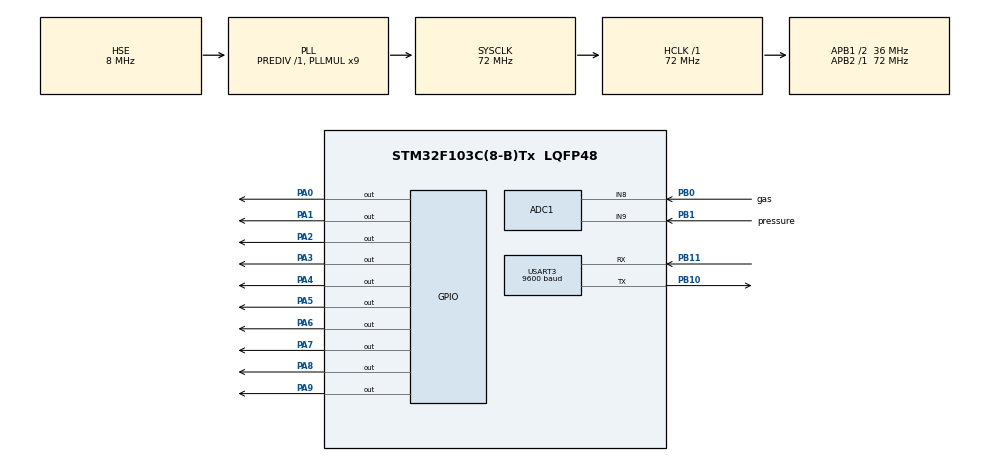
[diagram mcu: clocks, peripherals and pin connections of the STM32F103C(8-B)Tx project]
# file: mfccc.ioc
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ADC1.Channel-0\#ChannelRegularConversion=ADC_CHANNEL_8
ADC1.Channel-1\#ChannelRegularConversion=ADC_CHANNEL_9
ADC1.ContinuousConvMode=ENABLE
ADC1.NbrOfConversion=2
ADC1.NbrOfConversionFlag=1
ADC1.Rank-0\#ChannelRegularConversion=1
ADC1.Rank-1\#ChannelRegularConversion=2
ADC1.SamplingTime-0\#ChannelRegularConversion=ADC_SAMPLETIME_71CYCLES_5
ADC1.SamplingTime-1\#ChannelRegularConversion=ADC_SAMPLETIME_71CYCLES_5
ADC1.master=1
Dma.ADC1.0.Direction=DMA_PERIPH_TO_MEMORY
Dma.ADC1.0.Instance=DMA1_Channel1
Dma.ADC1.0.MemDataAlignment=DMA_MDATAALIGN_WORD
Dma.ADC1.0.MemInc=DMA_MINC_ENABLE
Dma.ADC1.0.Mode=DMA_CIRCULAR
Dma.ADC1.0.PeriphDataAlignment=DMA_PDATAALIGN_WORD
Dma.ADC1.0.PeriphInc=DMA_PINC_DISABLE
Dma.ADC1.0.Priority=DMA_PRIORITY_LOW
Dma.Request0=ADC1
FREERTOS.Mutexes01=rxflagMutex,Dynamic,NULL
FREERTOS.Tasks01=spTask,0,128,StartSpTask,Default,NULL,Dynamic,NULL,NULL;uartRxTask,-3,128,StartUartRxTask,Default,NULL,Dynamic,NULL,NULL;sensorTask,-3,128,StartSensorTask,Default,NULL,Dynamic,NULL,NULL;adcstackTask,-3,128,StartadcstackTask,Default,NULL,Dynamic,NULL,NULL
Mcu.Family=STM32F1
Mcu.Name=STM32F103C(8-B)Tx
Mcu.Package=LQFP48
NVIC.DMA1_Channel1_IRQn=true\:5\:0\:false\:false\:true\:true\:false\:true
NVIC.PriorityGroup=NVIC_PRIORITYGROUP_4
NVIC.USART3_IRQn=true\:5\:0\:false\:true\:true\:1\:true\:true\:true
PA0-WKUP.Signal=GPIO_Output
PA1.Signal=GPIO_Output
PA13.Mode=Serial_Wire
PA13.Signal=SYS_JTMS-SWDIO
PA14.Mode=Serial_Wire
PA14.Signal=SYS_JTCK-SWCLK
PA2.Signal=GPIO_Output
PA3.Signal=GPIO_Output
PA4.Signal=GPIO_Output
PA5.Signal=GPIO_Output
PA6.Signal=GPIO_Output
PA7.Signal=GPIO_Output
PA8.Signal=GPIO_Output
PA9.Signal=GPIO_Output
PB0.GPIO_Label=gas
PB0.Signal=ADCx_IN8
PB1.GPIO_Label=pressure
PB1.Signal=ADCx_IN9
PB10.Mode=Asynchronous
PB10.Signal=USART3_TX
PB11.Mode=Asynchronous
PB11.Signal=USART3_RX
PD0-OSC_IN.Mode=HSE-External-Oscillator
PD0-OSC_IN.Signal=RCC_OSC_IN
PD1-OSC_OUT.Mode=HSE-External-Oscillator
PD1-OSC_OUT.Signal=RCC_OSC_OUT
ProjectManager.HeapSize=0x200
ProjectManager.StackSize=0x400
ProjectManager.TargetToolchain=MDK-ARM V5.27
RCC.ADCPresc=RCC_ADCPCLK2_DIV6
RCC.AHBFreq_Value=72000000
RCC.APB1CLKDivider=RCC_HCLK_DIV2
RCC.APB1Freq_Value=36000000
RCC.APB1TimFreq_Value=72000000
RCC.APB2Freq_Value=72000000
RCC.APB2TimFreq_Value=72000000
RCC.HCLKFreq_Value=72000000
RCC.PLLMUL=RCC_PLL_MUL9
RCC.PLLSourceVirtual=RCC_PLLSOURCE_HSE
RCC.SYSCLKFreq_VALUE=72000000
RCC.SYSCLKSource=RCC_SYSCLKSOURCE_PLLCLK
RCC.USBFreq_Value=72000000
SH.ADCx_IN8.0=ADC1_IN8,IN8
SH.ADCx_IN9.0=ADC1_IN9,IN9
TIM4.Period=1000-1
TIM4.Prescaler=72-1
USART3.BaudRate=9600
USART3.VirtualMode=VM_ASYNC
VP_FREERTOS_VS_CMSIS_V1.Mode=CMSIS_V1
VP_TIM4_VS_ClockSourceINT.Mode=Internal
board=custom

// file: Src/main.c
/* USER CODE BEGIN Header */
/**
  ******************************************************************************
  * @file           : main.c
  * @brief          : Main program body
  ******************************************************************************
  * @attention
  *
  * <h2><center>&copy; Copyright (c) 2021 STMicroelectronics.
  * All rights reserved.</center></h2>
  *
  * This software component is licensed by ST under Ultimate Liberty license
  * SLA0044, the "License"; You may not use this file except in compliance with
  * the License. You may obtain a copy of the License at:
  *                             www.st.com/SLA0044
  *
  ******************************************************************************
  */
/* USER CODE END Header */

#include "main.h"
#include "cmsis_os.h"
#include "adc.h"
#include "dma.h"
#include "tim.h"
#include "usart.h"
#include "gpio.h"

void SystemClock_Config(void);
void MX_FREERTOS_Init(void);
static void MX_NVIC_Init(void);

int main(void)
{

  /* MCU Configuration--------------------------------------------------------*/

  /* Reset of all peripherals, Initializes the Flash interface and the Systick. */
  HAL_Init();

  /* Configure the system clock */
  SystemClock_Config();

  /* Initialize all configured peripherals */
  MX_GPIO_Init();
  MX_DMA_Init();
  MX_ADC1_Init();
  MX_TIM4_Init();
  MX_USART3_UART_Init();

  /* Initialize interrupts */
  MX_NVIC_Init();

  /* Call init function for freertos objects (in freertos.c) */
  MX_FREERTOS_Init();
  /* Start scheduler */
  osKernelStart();

  /* We should never get here as control is now taken by the scheduler */
  /* Infinite loop */
  while (1)
  {

  }
}

void SystemClock_Config(void)
{
  RCC_OscInitTypeDef RCC_OscInitStruct = {0};
  RCC_ClkInitTypeDef RCC_ClkInitStruct = {0};
  RCC_PeriphCLKInitTypeDef PeriphClkInit = {0};

  /** Initializes the CPU, AHB and APB busses clocks
  */
  RCC_OscInitStruct.OscillatorType = RCC_OSCILLATORTYPE_HSE;
  RCC_OscInitStruct.HSEState = RCC_HSE_ON;
  RCC_OscInitStruct.HSEPredivValue = RCC_HSE_PREDIV_DIV1;
  RCC_OscInitStruct.HSIState = RCC_HSI_ON;
  RCC_OscInitStruct.PLL.PLLState = RCC_PLL_ON;
  RCC_OscInitStruct.PLL.PLLSource = RCC_PLLSOURCE_HSE;
  RCC_OscInitStruct.PLL.PLLMUL = RCC_PLL_MUL9;
  if (HAL_RCC_OscConfig(&RCC_OscInitStruct) != HAL_OK)
  {
    Error_Handler();
  }
  /** Initializes the CPU, AHB and APB busses clocks
  */
  RCC_ClkInitStruct.ClockType = RCC_CLOCKTYPE_HCLK|RCC_CLOCKTYPE_SYSCLK
                              |RCC_CLOCKTYPE_PCLK1|RCC_CLOCKTYPE_PCLK2;
  RCC_ClkInitStruct.SYSCLKSource = RCC_SYSCLKSOURCE_PLLCLK;
  RCC_ClkInitStruct.AHBCLKDivider = RCC_SYSCLK_DIV1;
  RCC_ClkInitStruct.APB1CLKDivider = RCC_HCLK_DIV2;
  RCC_ClkInitStruct.APB2CLKDivider = RCC_HCLK_DIV1;

  if (HAL_RCC_ClockConfig(&RCC_ClkInitStruct, FLASH_LATENCY_2) != HAL_OK)
  {
    Error_Handler();
  }
  PeriphClkInit.PeriphClockSelection = RCC_PERIPHCLK_ADC;
  PeriphClkInit.AdcClockSelection = RCC_ADCPCLK2_DIV6;
  if (HAL_RCCEx_PeriphCLKConfig(&PeriphClkInit) != HAL_OK)
  {
    Error_Handler();
  }
}

/**
  * @brief NVIC Configuration.
  * @retval None
  */
static void MX_NVIC_Init(void)
{
  /* USART3_IRQn interrupt configuration */
  HAL_NVIC_SetPriority(USART3_IRQn, 5, 0);
  HAL_NVIC_EnableIRQ(USART3_IRQn);
}

void Error_Handler(void)
{
}

/************************ (C) COPYRIGHT STMicroelectronics *****END OF FILE****/

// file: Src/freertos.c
/* USER CODE BEGIN Header */
/**
  ******************************************************************************
  * File Name          : freertos.c
  * Description        : Code for freertos applications
  ******************************************************************************
  * @attention
  *
  * <h2><center>&copy; Copyright (c) 2021 STMicroelectronics.
  * All rights reserved.</center></h2>
  *
  * This software component is licensed by ST under Ultimate Liberty license
  * SLA0044, the "License"; You may not use this file except in compliance with
  * the License. You may obtain a copy of the License at:
  *                             www.st.com/SLA0044
  *
  ******************************************************************************
  */
/* USER CODE END Header */

#include "FreeRTOS.h"
#include "task.h"
#include "main.h"
#include "cmsis_os.h"

/* USER CODE BEGIN Includes */

#include "stdio.h"
#include "stdbool.h"
#include "string.h"

/* USER CODE END Includes */

/* USER CODE BEGIN Variables */

extern TIM_HandleTypeDef htim4;
extern ADC_HandleTypeDef hadc1;
extern UART_HandleTypeDef huart3;

uint8_t rx_data;
uint8_t cmd[4] = { 0, };
uint16_t sp_dutycycle;
uint16_t sp_dutycycle2;
uint32_t sensor_val[2];		// [0]: gas, [1]: press
uint16_t sp_gpio;
uint16_t gas_adc_stack[10] = { 0, };
uint16_t press_adc_stack[10] = { 0, };
uint32_t sensor_val_avg[2];

bool SEND_DATA_FLAG = false;
bool SP_FLAG = false;

/* USER CODE END Variables */
osThreadId spTaskHandle;
osThreadId uartRxTaskHandle;
osThreadId sensorTaskHandle;
osThreadId adcstackTaskHandle;
osMutexId rxflagMutexHandle;

/* USER CODE BEGIN FunctionPrototypes */
uint16_t sp_map(uint16_t x, uint16_t y, uint16_t in_min, uint16_t in_max, uint16_t out_min, uint16_t out_max);
void quick_sort (uint16_t *data, int start, int end);

/* USER CODE END FunctionPrototypes */

void StartSpTask(void const * argument);
void StartUartRxTask(void const * argument);
void StartSensorTask(void const * argument);
void StartadcstackTask(void const * argument);

void MX_FREERTOS_Init(void); /* (MISRA C 2004 rule 8.1) */

/* GetIdleTaskMemory prototype (linked to static allocation support) */
void vApplicationGetIdleTaskMemory( StaticTask_t **ppxIdleTaskTCBBuffer, StackType_t **ppxIdleTaskStackBuffer, uint32_t *pulIdleTaskStackSize );

/* USER CODE BEGIN GET_IDLE_TASK_MEMORY */
static StaticTask_t xIdleTaskTCBBuffer;
static StackType_t xIdleStack[configMINIMAL_STACK_SIZE];

void vApplicationGetIdleTaskMemory( StaticTask_t **ppxIdleTaskTCBBuffer, StackType_t **ppxIdleTaskStackBuffer, uint32_t *pulIdleTaskStackSize )
{
  *ppxIdleTaskTCBBuffer = &xIdleTaskTCBBuffer;
  *ppxIdleTaskStackBuffer = &xIdleStack[0];
  *pulIdleTaskStackSize = configMINIMAL_STACK_SIZE;
  /* place for user code */
}
/* USER CODE END GET_IDLE_TASK_MEMORY */

void MX_FREERTOS_Init(void) {
  /* USER CODE BEGIN Init */
  HAL_ADC_Start_DMA(&hadc1, sensor_val, 2);
  /* USER CODE END Init */
  /* Create the mutex(es) */
  /* definition and creation of rxflagMutex */
  osMutexDef(rxflagMutex);
  rxflagMutexHandle = osMutexCreate(osMutex(rxflagMutex));

  /* Create the thread(s) */
  /* definition and creation of spTask */
  osThreadDef(spTask, StartSpTask, osPriorityNormal, 0, 128);
  spTaskHandle = osThreadCreate(osThread(spTask), NULL);

  /* definition and creation of uartRxTask */
  osThreadDef(uartRxTask, StartUartRxTask, osPriorityIdle, 0, 128);
  uartRxTaskHandle = osThreadCreate(osThread(uartRxTask), NULL);

  /* definition and creation of sensorTask */
  osThreadDef(sensorTask, StartSensorTask, osPriorityIdle, 0, 128);
  sensorTaskHandle = osThreadCreate(osThread(sensorTask), NULL);

  /* definition and creation of adcstackTask */
  osThreadDef(adcstackTask, StartadcstackTask, osPriorityIdle, 0, 128);
  adcstackTaskHandle = osThreadCreate(osThread(adcstackTask), NULL);

}

void StartSpTask(void const * argument)
{
  /* USER CODE BEGIN StartSpTask */

  /* Infinite loop */
  for(;;)
  {
		if (SP_FLAG) {
			sp_gpio = (sp_map(sp_dutycycle, sp_dutycycle2, 0, 1023, 0, 1023));
			int a[10]={0};
			int	i;

			for(i=0; sp_gpio>0; i++)
			{
				a[i] = sp_gpio%2;
				sp_gpio = sp_gpio/2;
			}
			HAL_GPIO_WritePin(GPIOA, GPIO_PIN_0, a[0]);
			HAL_GPIO_WritePin(GPIOA, GPIO_PIN_1, a[1]);
			HAL_GPIO_WritePin(GPIOA, GPIO_PIN_2, a[2]);
			HAL_GPIO_WritePin(GPIOA, GPIO_PIN_3, a[3]);
			HAL_GPIO_WritePin(GPIOA, GPIO_PIN_4, a[4]);
			HAL_GPIO_WritePin(GPIOA, GPIO_PIN_5, a[5]);
			HAL_GPIO_WritePin(GPIOA, GPIO_PIN_6, a[6]);
			HAL_GPIO_WritePin(GPIOA, GPIO_PIN_7, a[7]);
			HAL_GPIO_WritePin(GPIOA, GPIO_PIN_8, a[8]);
			HAL_GPIO_WritePin(GPIOA, GPIO_PIN_9, a[9]);
			SP_FLAG = false;
		}
    osDelay(1);
  }
  /* USER CODE END StartSpTask */
}

void StartUartRxTask(void const * argument)
{
  /* USER CODE BEGIN StartUartRxTask */

	HAL_UART_Receive_IT(&huart3, &rx_data, 1);

  /* Infinite loop */
  for(;;)
  {
		if (osSemaphoreWait(rxflagMutexHandle, osWaitForever) == osOK) {
			if (cmd[0] == 0x55) {
				if (cmd[1] == 0xF2) {
					SEND_DATA_FLAG = true;
					memset(cmd, 0, sizeof(cmd));
				}
				else if (cmd[1] == 0xF3) {
					sp_dutycycle = cmd[2];
					sp_dutycycle2 = cmd[3];
					SP_FLAG = true;
					memset(cmd, 0, sizeof(cmd));
				}
			}
			osSemaphoreRelease(rxflagMutexHandle);
		}
    osDelay(1);
  }
  /* USER CODE END StartUartRxTask */
}

void StartSensorTask(void const * argument)
{
  /* USER CODE BEGIN StartSensorTask */

	uint8_t tx_buf[6];
	tx_buf[0] = 0x55;
	tx_buf[1] = 0xF1;

  /* Infinite loop */
  for(;;)
  {
		if (SEND_DATA_FLAG) {
			tx_buf[2] = sensor_val_avg[0] / 256;
			tx_buf[3] = sensor_val_avg[0] % 256;
			tx_buf[4] = sensor_val_avg[1] / 256;
			tx_buf[5] = sensor_val_avg[1] % 256;
			HAL_UART_Transmit(&huart3, tx_buf, 6, 10);
			SEND_DATA_FLAG = false;
#ifdef DEBUG
			printf("gas_val: %d, press_val: %d\r\n", sensor_val[0], sensor_val[1]);
#endif
		}
    osDelay(1);
  }
  /* USER CODE END StartSensorTask */
}

void StartadcstackTask(void const * argument)
{
  /* USER CODE BEGIN StartadcstackTask */
  /* Infinite loop */
  for(;;)
  {
		for(int i=0; i<10; i++)
		{
			gas_adc_stack[i] = gas_adc_stack[i+1];
			press_adc_stack[i] = press_adc_stack[i+1];
			if (i==9)
			{
				gas_adc_stack[i] = sensor_val[0];
				press_adc_stack[i] = sensor_val[1];
			}
		}

		quick_sort(gas_adc_stack, 0, 9);
		quick_sort(press_adc_stack, 0, 9);

		int sum[2] = {0,0};
		for(int i=2; i<8; i++)
		{
			sum[0] += gas_adc_stack[i];
			sum[1] += press_adc_stack[i];
		}
		sensor_val_avg[0] = sum[0]/6;
		sensor_val_avg[1] = sum[1]/6;

    osDelay(1);
  }
  /* USER CODE END StartadcstackTask */
}

/* USER CODE BEGIN Application */

uint16_t sp_map(uint16_t x, uint16_t y, uint16_t in_min, uint16_t in_max, uint16_t out_min, uint16_t out_max) {
	x = (x*256) + y;
	return (((x - in_min) * (out_max - out_min)) / (in_max - in_min)) + out_min + 0.5;
}

void quick_sort (uint16_t *data, int start, int end) {
    if(start >= end) return;

    int pivot = start;
    int i = pivot + 1;
    int j = end;
    uint16_t temp;

    while(i <= j) {
        while(i <= end && data[i] <= data[pivot]) i++;
        while(j > start && data[j] >= data[pivot]) j--;
        if(i > j) {
            temp = data[j];
            data[j] = data[pivot];
            data[pivot] = temp;
        } else {
            temp = data[i];
            data[i] = data[j];
            data[j] = temp;
        }
    }
    quick_sort(data, start, j - 1);
    quick_sort(data, j + 1, end);
}

void HAL_UART_RxCpltCallback(UART_HandleTypeDef *huart) {
	if(huart->Instance == USART3)	{
		if (osSemaphoreWait(rxflagMutexHandle, osWaitForever) == osOK) {
			cmd[0] = cmd[1];
			cmd[1] = cmd[2];
			cmd[2] = cmd[3];
			cmd[3] = rx_data;
			osSemaphoreRelease(rxflagMutexHandle);
		}
		HAL_UART_Receive_IT(&huart3, &rx_data, 1);
	}
}

/* USER CODE END Application */

/************************ (C) COPYRIGHT STMicroelectronics *****END OF FILE****/
